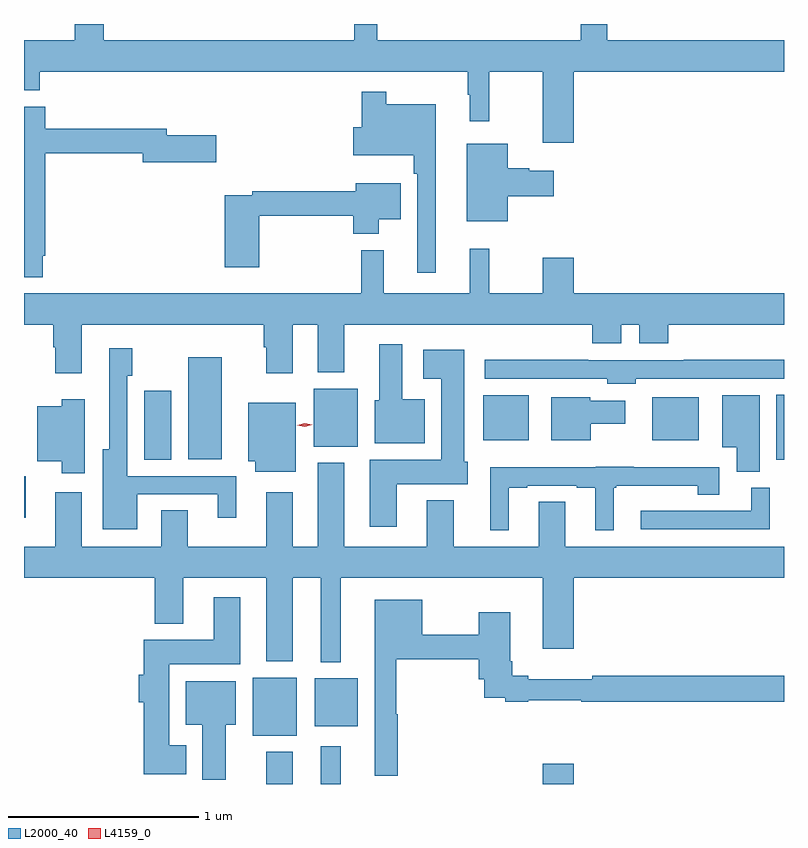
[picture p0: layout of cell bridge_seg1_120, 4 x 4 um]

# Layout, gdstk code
import gdstk
lib = gdstk.Library(unit=1e-6, precision=1e-09)
def R(c, l, rs):  # rectangles x0, y0, x1, y1
    for r in rs: c.add(gdstk.rectangle(r[:2], r[2:], *l))
def P(c, l, *ps):  # polygons
    for p in ps: c.add(gdstk.Polygon(p, *l))
L2000_40 = (2000, 40)
L4159_0 = (4159, 0)

bridge_seg1_120 = lib.new_cell('bridge_seg1_120')
R(bridge_seg1_120, L2000_40, [(199.517,563.966,199.657,564.136), (199.805,563.966,199.909,564.166), (200.972,563.966,201.136,564.073), (199.445,564.221,199.678,564.526), (199.772,564.269,199.999,564.523), (198.242,565.368,198.25,565.587), (198.875,565.672,199.018,566.035), (202.202,565.673,202.242,566.015), (199.106,565.676,199.282,566.212), (199.766,565.742,199.999,566.047), (200.66,565.775,200.899,566.011), (201.548,565.775,201.793,566.002), (200.899,567.965,201.016,567.966), (201.47,567.965,201.568,567.966)])
P(bridge_seg1_120, L2000_40, [(201.136,567.716),(202.242,567.716),(202.242,567.88),(201.313,567.88),(201.313,567.966),(201.173,567.966),(201.173,567.88),(200.101,567.88),(200.101,567.966),(199.979,567.966),(199.979,567.88),(198.662,567.88),(198.662,567.966),(198.509,567.966),(198.509,567.88),(198.242,567.88),(198.242,567.617),(198.326,567.617),(198.326,567.716),(200.577,567.716),(200.577,567.593),(200.588,567.593),(200.588,567.453),(200.69,567.453),(200.69,567.716),(200.972,567.716),(200.972,567.342),(201.136,567.342)],
  [(200.41,567.544),(200.149,567.544),(200.149,567.61),(200.02,567.61),(200.02,567.423),(199.976,567.423),(199.976,567.275),(200.293,567.275),(200.293,567.179),(200.313,567.179),(200.313,566.658),(200.41,566.658)],
  [(198.34,566.746),(198.353,566.746),(198.353,567.286),(198.866,567.286),(198.866,567.239),(199.255,567.239),(199.255,567.381),(198.994,567.381),(198.994,567.415),(198.353,567.415),(198.353,567.53),(198.242,567.53),(198.242,566.634),(198.34,566.634)],
  [(200.788,567.059),(201.031,567.059),(201.031,567.193),(200.901,567.193),(200.901,567.206),(200.788,567.206),(200.788,567.337),(200.573,567.337),(200.573,566.927),(200.788,566.927)],
  [(199.481,566.958),(199.976,566.958),(199.976,566.861),(200.11,566.861),(200.11,566.939),(200.224,566.939),(200.224,567.127),(199.988,567.127),(199.988,567.086),(199.444,567.086),(199.444,567.066),(199.298,567.066),(199.298,566.685),(199.481,566.685)],
  [(198.242,566.384),(198.395,566.384),(198.395,566.264),(198.407,566.264),(198.407,566.127),(198.547,566.127),(198.547,566.384),(199.505,566.384),(199.505,566.264),(199.517,566.264),(199.517,566.127),(199.657,566.127),(199.657,566.384),(199.787,566.384),(199.787,566.132),(199.927,566.132),(199.927,566.384),(201.233,566.384),(201.233,566.285),(201.385,566.285),(201.385,566.384),(201.479,566.384),(201.479,566.285),(201.632,566.285),(201.632,566.384),(202.242,566.384),(202.242,566.548),(201.136,566.548),(201.136,566.737),(200.972,566.737),(200.972,566.548),(200.69,566.548),(200.69,566.782),(200.588,566.782),(200.588,566.548),(200.135,566.548),(200.135,566.776),(200.017,566.776),(200.017,566.548),(198.242,566.548)],
  [(200.35,565.99),(200.233,565.99),(200.233,566.281),(200.111,566.281),(200.111,565.986),(200.087,565.986),(200.087,565.76),(200.35,565.76)],
  [(198.838,565.491),(199.262,565.491),(199.262,565.368),(199.36,565.368),(199.36,565.587),(198.786,565.587),(198.786,566.115),(198.813,566.115),(198.813,566.26),(198.69,566.26),(198.69,565.729),(198.656,565.729),(198.656,565.307),(198.838,565.307)],
  [(200.203,565.544),(200.578,565.544),(200.578,565.662),(200.56,565.662),(200.56,566.251),(200.343,566.251),(200.343,566.099),(200.438,566.099),(200.438,565.672),(200.063,565.672),(200.063,565.32),(200.203,565.32)],
  [(201.462,566.1),(202.242,566.1),(202.242,566.198),(201.715,566.198),(201.715,566.196),(201.212,566.196),(201.212,566.198),(200.667,566.198),(200.667,566.1),(201.312,566.1),(201.312,566.072),(201.462,566.072)],
  [(202.114,566.011),(201.917,566.011),(201.917,565.739),(201.992,565.739),(201.992,565.609),(202.114,565.609)],
  [(201.226,565.862),(201.406,565.862),(201.406,565.984),(201.222,565.984),(201.222,566.002),(201.017,566.002),(201.017,565.775),(201.226,565.775)],
  [(198.562,565.99),(198.44,565.99),(198.44,565.954),(198.311,565.954),(198.311,565.664),(198.44,565.664),(198.44,565.602),(198.562,565.602)],
  [(199.672,565.972),(199.421,565.972),(199.421,565.664),(199.46,565.664),(199.46,565.61),(199.672,565.61)],
  [(199.909,565.052),(200.972,565.052),(200.972,564.678),(201.136,564.678),(201.136,565.052),(202.242,565.052),(202.242,565.216),(201.091,565.216),(201.091,565.451),(200.951,565.451),(200.951,565.216),(200.503,565.216),(200.503,565.459),(200.363,565.459),(200.363,565.216),(199.927,565.216),(199.927,565.657),(199.787,565.657),(199.787,565.216),(199.657,565.216),(199.657,565.501),(199.517,565.501),(199.517,565.216),(199.105,565.216),(199.105,565.406),(198.965,565.406),(198.965,565.216),(198.547,565.216),(198.547,565.501),(198.407,565.501),(198.407,565.216),(198.242,565.216),(198.242,565.052),(198.929,565.052),(198.929,564.809),(199.081,564.809),(199.081,565.052),(199.517,565.052),(199.517,564.611),(199.657,564.611),(199.657,565.052),(199.805,565.052),(199.805,564.608),(199.909,564.608)],
  [(200.794,565.524),(200.89,565.524),(200.89,565.536),(201.152,565.536),(201.152,565.524),(201.248,565.524),(201.248,565.301),(201.346,565.301),(201.346,565.524),(201.358,565.524),(201.358,565.535),(201.788,565.535),(201.788,565.489),(201.901,565.489),(201.901,565.633),(201.452,565.633),(201.452,565.635),(201.252,565.635),(201.252,565.633),(200.697,565.633),(200.697,565.301),(200.794,565.301)],
  [(202.168,565.524),(202.07,565.524),(202.07,565.404),(201.489,565.404),(201.489,565.308),(202.168,565.308)],
  [(199.096,564.169),(199.006,564.169),(199.006,564.596),(199.381,564.596),(199.381,564.949),(199.241,564.949),(199.241,564.724),(198.872,564.724),(198.872,564.542),(198.845,564.542),(198.845,564.395),(198.872,564.395),(198.872,564.017),(199.096,564.017)],
  [(200.209,564.333),(200.201,564.333),(200.201,564.622),(200.635,564.622),(200.635,564.518),(200.665,564.518),(200.665,564.42),(200.776,564.42),(200.776,564.4),(200.896,564.4),(200.896,564.408),(201.176,564.408),(201.176,564.4),(202.242,564.4),(202.242,564.536),(201.232,564.536),(201.232,564.517),(200.896,564.517),(200.896,564.536),(200.813,564.536),(200.813,564.613),(200.8,564.613),(200.8,564.871),(200.635,564.871),(200.635,564.751),(200.338,564.751),(200.338,564.937),(200.087,564.937),(200.087,564.009),(200.209,564.009)],
  [(199.303,564.278),(199.357,564.278),(199.357,564.508),(199.094,564.508),(199.094,564.278),(199.181,564.278),(199.181,563.988),(199.303,563.988)])
P(bridge_seg1_120, L4159_0, [(199.72,565.846),(199.679,565.854),(199.678,565.854),(199.679,565.854),(199.719,565.865),(199.76,565.857),(199.76,565.857),(199.76,565.857)])

lib.write_gds('bridge_seg1_120.gds')
